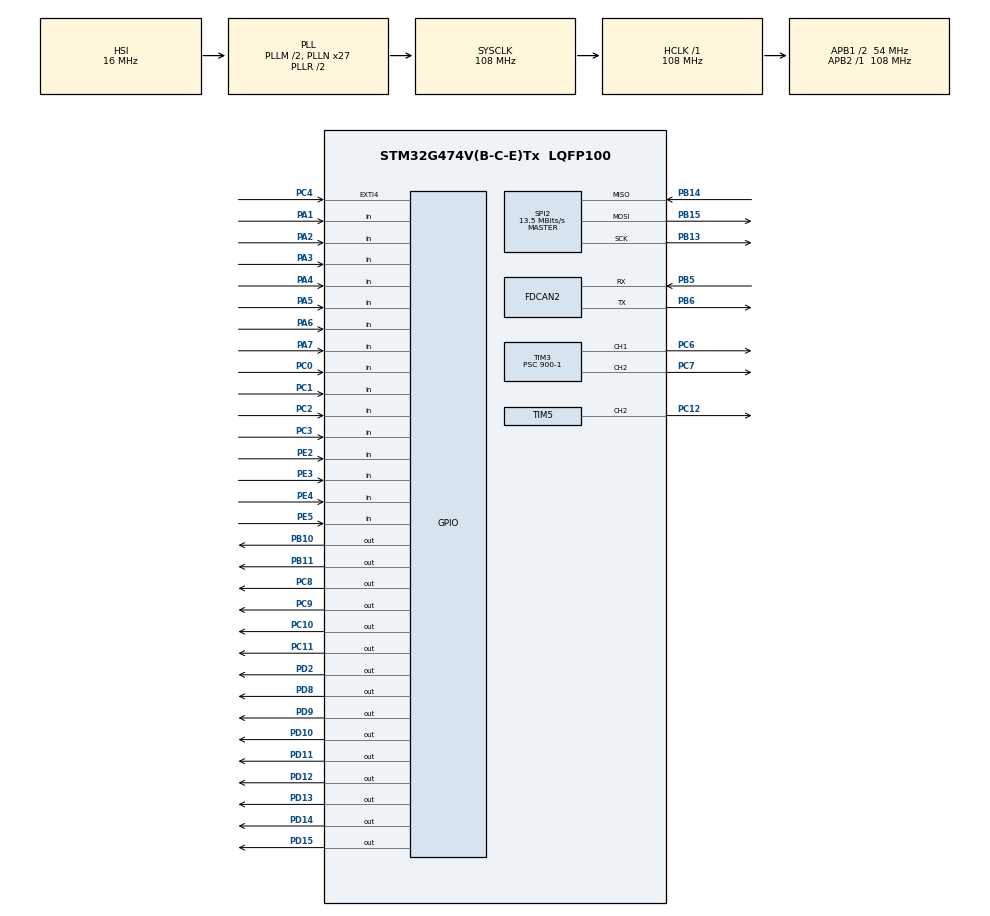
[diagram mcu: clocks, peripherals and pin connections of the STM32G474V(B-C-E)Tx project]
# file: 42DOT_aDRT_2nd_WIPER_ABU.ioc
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Mcu.Family=STM32G4
RCC.CortexFreq_Value=108000000
SPI2.VirtualType=VM_MASTER
NVIC.TIM6_DAC_IRQn=true\:1\:0\:true\:false\:true\:true\:true
PC10.Signal=GPIO_Output
PC12.Signal=S_TIM5_CH2
NVIC.RTC_WKUP_IRQn=true\:0\:0\:false\:false\:true\:true\:true
SH.S_TIM5_CH2.0=TIM5_CH2,PWM Generation2 CH2
VP_RTC_VS_RTC_Activate.Mode=RTC_Enabled
PB11.Signal=GPIO_Output
PB13.Signal=SPI2_SCK
PB15.Signal=SPI2_MOSI
RCC.SYSCLKSource=RCC_SYSCLKSOURCE_PLLCLK
ProjectManager.StackSize=0x400
PD13.Signal=GPIO_Output
RCC.HCLKFreq_Value=108000000
TIM3.PulseNoDither_1=500
RCC.APB2TimFreq_Value=108000000
TIM3.PulseNoDither_2=500
PB6.Signal=FDCAN2_TX
PC7.Signal=S_TIM3_CH2
PB6.Mode=FDCAN_Activate
PC3.Signal=GPIO_Input
PD8.Signal=GPIO_Output
PE5.Signal=GPIO_Input
RCC.AHBFreq_Value=108000000
SPI2.BaudRatePrescaler=SPI_BAUDRATEPRESCALER_4
TIM3.Channel-PWM\ Generation1\ CH1=TIM_CHANNEL_1
RCC.HSE_VALUE=8000000
PB3.Mode=JTAG_4_pins
PA15.Mode=JTAG_4_pins
RCC.ADC12Freq_Value=108000000
PA14.Mode=JTAG_4_pins
PB14.Mode=Full_Duplex_Master
TIM3.Prescaler=900-1
PB5.Mode=FDCAN_Activate
SPI2.CalculateBaudRate=13.5 MBits/s
VP_SYS_VS_DBSignals.Mode=DisableDeadBatterySignals
PE2.Signal=GPIO_Input
NVIC.SPI2_IRQn=true\:1\:0\:true\:false\:true\:true\:true
SH.S_TIM3_CH1.0=TIM3_CH1,PWM Generation1 CH1
PE4.Signal=GPIO_Input
Mcu.Package=LQFP100
PA6.Signal=GPIO_Input
SPI2.Mode=SPI_MODE_MASTER
PD12.Signal=GPIO_Output
TIM6.PeriodNoDither=200-1
PA15.Signal=SYS_JTDI
TIM3.PeriodNoDither=1000-1
SPI2.CLKPhase=SPI_PHASE_2EDGE
RCC.APB1TimFreq_Value=108000000
SPI2.Direction=SPI_DIRECTION_2LINES
PB13.Mode=Full_Duplex_Master
FDCAN2.StdFiltersNbr=1
PD15.Signal=GPIO_Output
RCC.HSI48_VALUE=48000000
PA3.Signal=GPIO_Input
PC4.GPIO_ModeDefaultEXTI=GPIO_MODE_EVT_RISING_FALLING
PC11.Signal=GPIO_Output
PC8.Signal=GPIO_Output
TIM6.Prescaler=1080-1
PC6.Signal=S_TIM3_CH1
PC4.Signal=GPXTI4
PC2.Signal=GPIO_Input
VP_TIM6_VS_ClockSourceINT.Mode=Enable_Timer
RCC.EXTERNAL_CLOCK_VALUE=12288000
PD9.Signal=GPIO_Output
PC0.Signal=GPIO_Input
RCC.APB1CLKDivider=RCC_HCLK_DIV2
TIM5.PulseNoDither_2=500
NVIC.FDCAN2_IT0_IRQn=true\:0\:0\:false\:false\:true\:true\:true
PD10.Signal=GPIO_Output
FDCAN2.NominalTimeSeg1=15
PA13.Signal=SYS_JTMS-SWDIO
ProjectManager.TargetToolchain=STM32CubeIDE
FDCAN2.NominalPrescaler=6
RCC.USBFreq_Value=108000000
RCC.LSE_VALUE=32768
PA1.Signal=GPIO_Input
PB10.Signal=GPIO_Output
PB14.Signal=SPI2_MISO
PA5.Signal=GPIO_Input
SH.S_TIM3_CH2.0=TIM3_CH2,PWM Generation2 CH2
board=custom
RCC.VCOOutputFreq_Value=216000000
PB15.Mode=Full_Duplex_Master
RCC.ADC345Freq_Value=108000000
RCC.APB2Freq_Value=108000000
PA13.Mode=JTAG_4_pins
Mcu.Name=STM32G474V(B-C-E)Tx
PA2.Signal=GPIO_Input
TIM5.PeriodNoDither=1000-1
PD14.Signal=GPIO_Output
PB3.Signal=SYS_JTDO-SWO
TIM5.Channel-PWM\ Generation2\ CH2=TIM_CHANNEL_2
PA4.Signal=GPIO_Input
RCC.SYSCLKFreq_VALUE=108000000
PB5.Signal=FDCAN2_RX
TIM5.Prescaler=900-1
PD11.Signal=GPIO_Output
PA14.Signal=SYS_JTCK-SWCLK
ProjectManager.HeapSize=0x200
RCC.HSI_VALUE=16000000
VP_RTC_VS_RTC_WakeUp_intern.Mode=WakeUp
NVIC.PriorityGroup=NVIC_PRIORITYGROUP_4
TIM3.Channel-PWM\ Generation2\ CH2=TIM_CHANNEL_2
RCC.PLLM=RCC_PLLM_DIV2
RCC.PLLN=27
PE3.Signal=GPIO_Input
SPI2.DataSize=SPI_DATASIZE_16BIT
PC9.Signal=GPIO_Output
PD2.Signal=GPIO_Output
RCC.APB1Freq_Value=54000000
PC1.Signal=GPIO_Input
PA7.Signal=GPIO_Input

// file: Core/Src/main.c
/* USER CODE BEGIN Header */
/**
  ******************************************************************************
  * @file           : main.c
  * @brief          : Main program body
  ******************************************************************************
  * @attention
  *
  * <h2><center>&copy; Copyright (c) 2021 STMicroelectronics.
  * All rights reserved.</center></h2>
  *
  * This software component is licensed by ST under BSD 3-Clause license,
  * the "License"; You may not use this file except in compliance with the
  * License. You may obtain a copy of the License at:
  *                        opensource.org/licenses/BSD-3-Clause
  *
  ******************************************************************************
  */
/* USER CODE END Header */
#include "main.h"

/* USER CODE BEGIN PD */
#define ADC_CH1_ENABLE			0xC0
#define ADC_CH2_ENABLE			0xC4
#define ADC_CH3_ENABLE			0xC8
#define ADC_CH4_ENABLE			0xCC
#define ADC_DUMMY               0
#define SPI_TIMEOUT_CNT			100
/* USER CODE END PD */

FDCAN_HandleTypeDef hfdcan2;

RTC_HandleTypeDef hrtc;

SPI_HandleTypeDef hspi2;

TIM_HandleTypeDef htim3;
TIM_HandleTypeDef htim5;
TIM_HandleTypeDef htim6;

/* USER CODE BEGIN PV */
FDCAN_FilterTypeDef can2_filter;

uint8_t spi2_rx_data[8];
uint8_t spi2_tx_data[8];

/* USER CODE END PV */

void SystemClock_Config(void);
static void MX_GPIO_Init(void);
static void MX_TIM6_Init(void);
static void MX_SPI2_Init(void);
static void MX_RTC_Init(void);
static void MX_TIM3_Init(void);
static void MX_TIM5_Init(void);
static void MX_FDCAN2_Init(void);
/* USER CODE BEGIN PFP */
void StopModeStart();
/* USER CODE END PFP */

int main(void)
{

  /* MCU Configuration--------------------------------------------------------*/

  /* Reset of all peripherals, Initializes the Flash interface and the Systick. */
  HAL_Init();

  /* Configure the system clock */
  SystemClock_Config();

  /* Initialize all configured peripherals */
  MX_GPIO_Init();
  MX_TIM6_Init();
  MX_SPI2_Init();
  MX_RTC_Init();
  MX_TIM3_Init();
  MX_TIM5_Init();
  MX_FDCAN2_Init();
  /* USER CODE BEGIN 2 */
  HAL_GPIO_WritePin(GPIOB, GPIO_PIN_11, SET);		// SET /RST(ADC IC) 1 (Deactivate)
  HAL_TIM_Base_Start_IT(&htim6);
  /* USER CODE END 2 */

  /* Infinite loop */
  /* USER CODE BEGIN WHILE */
  while (1)
  {
	  if( stop_enable == 1 ) {
		  stop_enable = 0;
		  StopModeStart();
	  }
    /* USER CODE END WHILE */

  }
}

void SystemClock_Config(void)
{
  RCC_OscInitTypeDef RCC_OscInitStruct = {0};
  RCC_ClkInitTypeDef RCC_ClkInitStruct = {0};
  RCC_PeriphCLKInitTypeDef PeriphClkInit = {0};

  /** Configure the main internal regulator output voltage
  */
  HAL_PWREx_ControlVoltageScaling(PWR_REGULATOR_VOLTAGE_SCALE1);
  /** Initializes the RCC Oscillators according to the specified parameters
  * in the RCC_OscInitTypeDef structure.
  */
  RCC_OscInitStruct.OscillatorType = RCC_OSCILLATORTYPE_HSI|RCC_OSCILLATORTYPE_LSI;
  RCC_OscInitStruct.HSIState = RCC_HSI_ON;
  RCC_OscInitStruct.HSICalibrationValue = RCC_HSICALIBRATION_DEFAULT;
  RCC_OscInitStruct.LSIState = RCC_LSI_ON;
  RCC_OscInitStruct.PLL.PLLState = RCC_PLL_ON;
  RCC_OscInitStruct.PLL.PLLSource = RCC_PLLSOURCE_HSI;
  RCC_OscInitStruct.PLL.PLLM = RCC_PLLM_DIV2;
  RCC_OscInitStruct.PLL.PLLN = 27;
  RCC_OscInitStruct.PLL.PLLP = RCC_PLLP_DIV2;
  RCC_OscInitStruct.PLL.PLLQ = RCC_PLLQ_DIV2;
  RCC_OscInitStruct.PLL.PLLR = RCC_PLLR_DIV2;
  if (HAL_RCC_OscConfig(&RCC_OscInitStruct) != HAL_OK)
  {
    Error_Handler();
  }
  /** Initializes the CPU, AHB and APB buses clocks
  */
  RCC_ClkInitStruct.ClockType = RCC_CLOCKTYPE_HCLK|RCC_CLOCKTYPE_SYSCLK
                              |RCC_CLOCKTYPE_PCLK1|RCC_CLOCKTYPE_PCLK2;
  RCC_ClkInitStruct.SYSCLKSource = RCC_SYSCLKSOURCE_PLLCLK;
  RCC_ClkInitStruct.AHBCLKDivider = RCC_SYSCLK_DIV1;
  RCC_ClkInitStruct.APB1CLKDivider = RCC_HCLK_DIV2;
  RCC_ClkInitStruct.APB2CLKDivider = RCC_HCLK_DIV1;

  if (HAL_RCC_ClockConfig(&RCC_ClkInitStruct, FLASH_LATENCY_3) != HAL_OK)
  {
    Error_Handler();
  }
  /** Initializes the peripherals clocks
  */
  PeriphClkInit.PeriphClockSelection = RCC_PERIPHCLK_RTC|RCC_PERIPHCLK_FDCAN;
  PeriphClkInit.FdcanClockSelection = RCC_FDCANCLKSOURCE_PCLK1;
  PeriphClkInit.RTCClockSelection = RCC_RTCCLKSOURCE_LSI;
  if (HAL_RCCEx_PeriphCLKConfig(&PeriphClkInit) != HAL_OK)
  {
    Error_Handler();
  }
}

static void MX_FDCAN2_Init(void)
{

  hfdcan2.Instance = FDCAN2;
  hfdcan2.Init.FrameFormat = FDCAN_FRAME_CLASSIC;
  hfdcan2.Init.Mode = FDCAN_MODE_NORMAL;
  hfdcan2.Init.AutoRetransmission = DISABLE;
  hfdcan2.Init.TransmitPause = DISABLE;
  hfdcan2.Init.ProtocolException = DISABLE;
  hfdcan2.Init.NominalPrescaler = 6;
  hfdcan2.Init.NominalSyncJumpWidth = 1;
  hfdcan2.Init.NominalTimeSeg1 = 15;
  hfdcan2.Init.NominalTimeSeg2 = 2;
  hfdcan2.Init.DataPrescaler = 1;
  hfdcan2.Init.DataSyncJumpWidth = 1;
  hfdcan2.Init.DataTimeSeg1 = 1;
  hfdcan2.Init.DataTimeSeg2 = 1;
  hfdcan2.Init.StdFiltersNbr = 1;
  hfdcan2.Init.ExtFiltersNbr = 0;
  hfdcan2.Init.TxFifoQueueMode = FDCAN_TX_FIFO_OPERATION;
  if (HAL_FDCAN_Init(&hfdcan2) != HAL_OK)
  {
    Error_Handler();
  }
  /* USER CODE BEGIN FDCAN2_Init 2 */
  can2_filter.IdType = FDCAN_STANDARD_ID;
  can2_filter.FilterType = FDCAN_FILTER_MASK;
  can2_filter.FilterIndex = 0;
  can2_filter.FilterID1 = 0x000;
  can2_filter.FilterID2 = 0x000;
  can2_filter.FilterConfig = FDCAN_FILTER_TO_RXFIFO0;

  if( HAL_FDCAN_ConfigFilter(&hfdcan2, &can2_filter) != HAL_OK ) {
	  Error_Handler();
  }

  if(HAL_FDCAN_ConfigGlobalFilter(&hfdcan2, FDCAN_REJECT, FDCAN_REJECT, FDCAN_FILTER_REMOTE, FDCAN_FILTER_REMOTE) != HAL_OK) {
	  Error_Handler();
  }

  if( HAL_FDCAN_ActivateNotification(&hfdcan2, FDCAN_IT_RX_FIFO0_NEW_MESSAGE, 0) != HAL_OK ) {
	  Error_Handler();
  }

  if( HAL_FDCAN_Start(&hfdcan2) != HAL_OK ) {
	  Error_Handler();
  }
  /* USER CODE END FDCAN2_Init 2 */

}

static void MX_RTC_Init(void)
{

  /** Initialize RTC Only
  */
  hrtc.Instance = RTC;
  hrtc.Init.HourFormat = RTC_HOURFORMAT_24;
  hrtc.Init.AsynchPrediv = 127;
  hrtc.Init.SynchPrediv = 255;
  hrtc.Init.OutPut = RTC_OUTPUT_DISABLE;
  hrtc.Init.OutPutRemap = RTC_OUTPUT_REMAP_NONE;
  hrtc.Init.OutPutPolarity = RTC_OUTPUT_POLARITY_HIGH;
  hrtc.Init.OutPutType = RTC_OUTPUT_TYPE_OPENDRAIN;
  hrtc.Init.OutPutPullUp = RTC_OUTPUT_PULLUP_NONE;
  if (HAL_RTC_Init(&hrtc) != HAL_OK)
  {
    Error_Handler();
  }
  /** Enable the WakeUp
  */
  if (HAL_RTCEx_SetWakeUpTimer_IT(&hrtc, 0, RTC_WAKEUPCLOCK_RTCCLK_DIV16) != HAL_OK)
  {
    Error_Handler();
  }

}

static void MX_SPI2_Init(void)
{

  /* SPI2 parameter configuration*/
  hspi2.Instance = SPI2;
  hspi2.Init.Mode = SPI_MODE_MASTER;
  hspi2.Init.Direction = SPI_DIRECTION_2LINES;
  hspi2.Init.DataSize = SPI_DATASIZE_16BIT;
  hspi2.Init.CLKPolarity = SPI_POLARITY_LOW;
  hspi2.Init.CLKPhase = SPI_PHASE_2EDGE;
  hspi2.Init.NSS = SPI_NSS_SOFT;
  hspi2.Init.BaudRatePrescaler = SPI_BAUDRATEPRESCALER_4;
  hspi2.Init.FirstBit = SPI_FIRSTBIT_MSB;
  hspi2.Init.TIMode = SPI_TIMODE_DISABLE;
  hspi2.Init.CRCCalculation = SPI_CRCCALCULATION_DISABLE;
  hspi2.Init.CRCPolynomial = 7;
  hspi2.Init.CRCLength = SPI_CRC_LENGTH_DATASIZE;
  hspi2.Init.NSSPMode = SPI_NSS_PULSE_DISABLE;
  if (HAL_SPI_Init(&hspi2) != HAL_OK)
  {
    Error_Handler();
  }

}

static void MX_TIM3_Init(void)
{

  TIM_MasterConfigTypeDef sMasterConfig = {0};
  TIM_OC_InitTypeDef sConfigOC = {0};

  htim3.Instance = TIM3;
  htim3.Init.Prescaler = 900-1;
  htim3.Init.CounterMode = TIM_COUNTERMODE_UP;
  htim3.Init.Period = 999;
  htim3.Init.ClockDivision = TIM_CLOCKDIVISION_DIV1;
  htim3.Init.AutoReloadPreload = TIM_AUTORELOAD_PRELOAD_DISABLE;
  if (HAL_TIM_PWM_Init(&htim3) != HAL_OK)
  {
    Error_Handler();
  }
  sMasterConfig.MasterOutputTrigger = TIM_TRGO_RESET;
  sMasterConfig.MasterSlaveMode = TIM_MASTERSLAVEMODE_DISABLE;
  if (HAL_TIMEx_MasterConfigSynchronization(&htim3, &sMasterConfig) != HAL_OK)
  {
    Error_Handler();
  }
  sConfigOC.OCMode = TIM_OCMODE_PWM1;
  sConfigOC.Pulse = 500;
  sConfigOC.OCPolarity = TIM_OCPOLARITY_HIGH;
  sConfigOC.OCFastMode = TIM_OCFAST_DISABLE;
  if (HAL_TIM_PWM_ConfigChannel(&htim3, &sConfigOC, TIM_CHANNEL_1) != HAL_OK)
  {
    Error_Handler();
  }
  if (HAL_TIM_PWM_ConfigChannel(&htim3, &sConfigOC, TIM_CHANNEL_2) != HAL_OK)
  {
    Error_Handler();
  }
  HAL_TIM_MspPostInit(&htim3);

}

static void MX_TIM5_Init(void)
{

  TIM_MasterConfigTypeDef sMasterConfig = {0};
  TIM_OC_InitTypeDef sConfigOC = {0};

  htim5.Instance = TIM5;
  htim5.Init.Prescaler = 900-1;
  htim5.Init.CounterMode = TIM_COUNTERMODE_UP;
  htim5.Init.Period = 999;
  htim5.Init.ClockDivision = TIM_CLOCKDIVISION_DIV1;
  htim5.Init.AutoReloadPreload = TIM_AUTORELOAD_PRELOAD_DISABLE;
  if (HAL_TIM_PWM_Init(&htim5) != HAL_OK)
  {
    Error_Handler();
  }
  sMasterConfig.MasterOutputTrigger = TIM_TRGO_RESET;
  sMasterConfig.MasterSlaveMode = TIM_MASTERSLAVEMODE_DISABLE;
  if (HAL_TIMEx_MasterConfigSynchronization(&htim5, &sMasterConfig) != HAL_OK)
  {
    Error_Handler();
  }
  sConfigOC.OCMode = TIM_OCMODE_PWM1;
  sConfigOC.Pulse = 500;
  sConfigOC.OCPolarity = TIM_OCPOLARITY_HIGH;
  sConfigOC.OCFastMode = TIM_OCFAST_DISABLE;
  if (HAL_TIM_PWM_ConfigChannel(&htim5, &sConfigOC, TIM_CHANNEL_2) != HAL_OK)
  {
    Error_Handler();
  }
  HAL_TIM_MspPostInit(&htim5);

}

static void MX_TIM6_Init(void)
{

  TIM_MasterConfigTypeDef sMasterConfig = {0};

  htim6.Instance = TIM6;
  htim6.Init.Prescaler = 1080-1;
  htim6.Init.CounterMode = TIM_COUNTERMODE_UP;
  htim6.Init.Period = 199;
  htim6.Init.AutoReloadPreload = TIM_AUTORELOAD_PRELOAD_DISABLE;
  if (HAL_TIM_Base_Init(&htim6) != HAL_OK)
  {
    Error_Handler();
  }
  sMasterConfig.MasterOutputTrigger = TIM_TRGO_RESET;
  sMasterConfig.MasterSlaveMode = TIM_MASTERSLAVEMODE_DISABLE;
  if (HAL_TIMEx_MasterConfigSynchronization(&htim6, &sMasterConfig) != HAL_OK)
  {
    Error_Handler();
  }

}

static void MX_GPIO_Init(void)
{
  GPIO_InitTypeDef GPIO_InitStruct = {0};

  /* GPIO Ports Clock Enable */
  __HAL_RCC_GPIOE_CLK_ENABLE();
  __HAL_RCC_GPIOC_CLK_ENABLE();
  __HAL_RCC_GPIOA_CLK_ENABLE();
  __HAL_RCC_GPIOB_CLK_ENABLE();
  __HAL_RCC_GPIOD_CLK_ENABLE();

  /*Configure GPIO pin Output Level */
  HAL_GPIO_WritePin(GPIOB, GPIO_PIN_10|GPIO_PIN_11, GPIO_PIN_RESET);

  /*Configure GPIO pin Output Level */
  HAL_GPIO_WritePin(GPIOD, GPIO_PIN_8|GPIO_PIN_9|GPIO_PIN_10|GPIO_PIN_11
                          |GPIO_PIN_12|GPIO_PIN_13|GPIO_PIN_14|GPIO_PIN_15
                          |GPIO_PIN_2, GPIO_PIN_RESET);

  /*Configure GPIO pin Output Level */
  HAL_GPIO_WritePin(GPIOC, GPIO_PIN_8|GPIO_PIN_9|GPIO_PIN_10|GPIO_PIN_11, GPIO_PIN_RESET);

  /*Configure GPIO pins : PE2 PE3 PE4 PE5 */
  GPIO_InitStruct.Pin = GPIO_PIN_2|GPIO_PIN_3|GPIO_PIN_4|GPIO_PIN_5;
  GPIO_InitStruct.Mode = GPIO_MODE_INPUT;
  GPIO_InitStruct.Pull = GPIO_NOPULL;
  HAL_GPIO_Init(GPIOE, &GPIO_InitStruct);

  /*Configure GPIO pins : PC0 PC1 PC2 PC3 */
  GPIO_InitStruct.Pin = GPIO_PIN_0|GPIO_PIN_1|GPIO_PIN_2|GPIO_PIN_3;
  GPIO_InitStruct.Mode = GPIO_MODE_INPUT;
  GPIO_InitStruct.Pull = GPIO_NOPULL;
  HAL_GPIO_Init(GPIOC, &GPIO_InitStruct);

  /*Configure GPIO pins : PA1 PA2 PA3 PA4
                           PA5 PA6 PA7 */
  GPIO_InitStruct.Pin = GPIO_PIN_1|GPIO_PIN_2|GPIO_PIN_3|GPIO_PIN_4
                          |GPIO_PIN_5|GPIO_PIN_6|GPIO_PIN_7;
  GPIO_InitStruct.Mode = GPIO_MODE_INPUT;
  GPIO_InitStruct.Pull = GPIO_NOPULL;
  HAL_GPIO_Init(GPIOA, &GPIO_InitStruct);

  /*Configure GPIO pin : PC4 */
  GPIO_InitStruct.Pin = GPIO_PIN_4;
  GPIO_InitStruct.Mode = GPIO_MODE_EVT_RISING_FALLING;
  GPIO_InitStruct.Pull = GPIO_NOPULL;
  HAL_GPIO_Init(GPIOC, &GPIO_InitStruct);

  /*Configure GPIO pins : PB10 PB11 */
  GPIO_InitStruct.Pin = GPIO_PIN_10|GPIO_PIN_11;
  GPIO_InitStruct.Mode = GPIO_MODE_OUTPUT_PP;
  GPIO_InitStruct.Pull = GPIO_NOPULL;
  GPIO_InitStruct.Speed = GPIO_SPEED_FREQ_LOW;
  HAL_GPIO_Init(GPIOB, &GPIO_InitStruct);

  /*Configure GPIO pins : PD8 PD9 PD10 PD11
                           PD12 PD13 PD14 PD15
                           PD2 */
  GPIO_InitStruct.Pin = GPIO_PIN_8|GPIO_PIN_9|GPIO_PIN_10|GPIO_PIN_11
                          |GPIO_PIN_12|GPIO_PIN_13|GPIO_PIN_14|GPIO_PIN_15
                          |GPIO_PIN_2;
  GPIO_InitStruct.Mode = GPIO_MODE_OUTPUT_PP;
  GPIO_InitStruct.Pull = GPIO_NOPULL;
  GPIO_InitStruct.Speed = GPIO_SPEED_FREQ_LOW;
  HAL_GPIO_Init(GPIOD, &GPIO_InitStruct);

  /*Configure GPIO pins : PC8 PC9 PC10 PC11 */
  GPIO_InitStruct.Pin = GPIO_PIN_8|GPIO_PIN_9|GPIO_PIN_10|GPIO_PIN_11;
  GPIO_InitStruct.Mode = GPIO_MODE_OUTPUT_PP;
  GPIO_InitStruct.Pull = GPIO_NOPULL;
  GPIO_InitStruct.Speed = GPIO_SPEED_FREQ_LOW;
  HAL_GPIO_Init(GPIOC, &GPIO_InitStruct);

}

/* USER CODE BEGIN 4 */
void AnalogDataReceive(void)
{
	float wiper_int_volt_f = 0;
	float dimmer_volt_f = 0;

	spi2_tx_data[0] = ADC_DUMMY;
	spi2_tx_data[1] = ADC_CH1_ENABLE;

	HAL_GPIO_WritePin(GPIOB, GPIO_PIN_10, GPIO_PIN_RESET);		// SET /CS 0 (Active)
	HAL_SPI_TransmitReceive(&hspi2, spi2_tx_data, spi2_rx_data, 8, 100);
	HAL_GPIO_WritePin(GPIOB, GPIO_PIN_10, GPIO_PIN_SET);		// SET /CS 1 (Deactivate)

	dimmer_volt_f = (spi2_rx_data[2]) | (spi2_rx_data[3]<<8);
	dimmer_volt_f = (dimmer_volt_f-32765) / 13235 * 5 * 1000;

	spi2_tx_data[0] = ADC_DUMMY;
	spi2_tx_data[1] = ADC_CH2_ENABLE;

	HAL_GPIO_WritePin(GPIOB, GPIO_PIN_10, GPIO_PIN_RESET);		// SET /CS 0 (Active)
	HAL_SPI_TransmitReceive(&hspi2, spi2_tx_data, spi2_rx_data, 8, 100);
	HAL_GPIO_WritePin(GPIOB, GPIO_PIN_10, GPIO_PIN_SET);		// SET /CS 1 (Deactivate)

	wiper_int_volt_f = (spi2_rx_data[2]) | (spi2_rx_data[3]<<8);
	wiper_int_volt_f = (wiper_int_volt_f-32765) / 13235 * 5 * 1000;

	wiper_int_volt = (uint16_t)wiper_int_volt_f;
	dimmer_volt = (uint16_t)dimmer_volt_f;
}

void StopModeStart()
{
	HAL_SuspendTick();

	__HAL_RCC_PWR_CLK_ENABLE();

	/* Enable the WakeUp
	   32768 / 16 = 2048Hz
	   1Hz = 0.00048828125 sec
	   10sec = 20,480Hz (0x5000)
	 */
//	HAL_RTCEx_SetWakeUpTimer_IT(&hrtc, 0xF000, RTC_WAKEUPCLOCK_RTCCLK_DIV16);		// Wake-up time : 30s
	HAL_RTCEx_SetWakeUpTimer_IT(&hrtc, 0xCC, RTC_WAKEUPCLOCK_RTCCLK_DIV16);		// Wake-up time : 100ms

	HAL_PWR_EnterSTOPMode(0, PWR_SLEEPENTRY_WFE);

	HAL_ResumeTick();

	HAL_RTCEx_DeactivateWakeUpTimer(&hrtc);

	SystemClock_Config();
}
/* USER CODE END 4 */

void Error_Handler(void)
{
  /* USER CODE BEGIN Error_Handler_Debug */
  /* User can add his own implementation to report the HAL error return state */
  __disable_irq();
  NVIC_SystemReset();
  while (1)
  {
  }
  /* USER CODE END Error_Handler_Debug */
}

/************************ (C) COPYRIGHT STMicroelectronics *****END OF FILE****/
